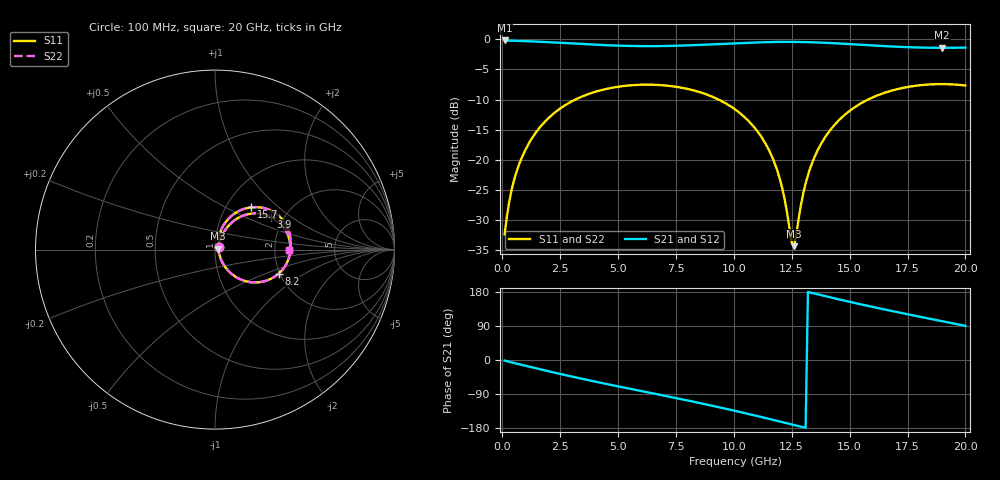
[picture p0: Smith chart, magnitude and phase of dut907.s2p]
! Touchstone file exported from HFSS 2026.1.0
!  File:  C:/ffzhzh/LocalFiles/Ansys_Project_Files/temp_train_TSV_RDL_907_1783277425_38820.aedt
!  Generated:  03:00:10 AM Jul  6, 2026
!  Design:  TSV_RDL
!  Project:  temp_train_TSV_RDL_907_1783277425_38820
! Variables:
!  h_bsmrdl = 2.44um
!  h_ox = 20um
!  h_rdl = 5um
!  h_sub = 57.81um
!  h_tmrdl = 3.61um
!  h_tsv = 57.81um
!  h_via = 3um
!  l_bsmrdl = 367.28um
!  l_sub = 4734.89um
!  l_tmrdl = 768.88um
!  m_sub = 200um
!  pitch = 44.53um
!  r_tsv = 12.02um
!  s_tmrdl = 10um
!  w_bsmrdl = 29.86um
!  w_sub = 500um
!  w_tmrdl = 22.65um
!  x_tsv_center1 = 780.205um
!  x_tsv_center2 = 1177.345um
!  x_tsv_center3 = 1968.875um
!  x_tsv_center4 = 2366.015um
!  x_tsv_center5 = 3157.545um
!  x_tsv_center6 = 3554.685um
# GHz S MA R 50.000000
! Terminal data exported
! Port[1] = TM_RDL1_1_T1
! Port[2] = TM_RDL5_1_T1
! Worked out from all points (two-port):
!   200 points, 100 MHz to 20 GHz, reference 50 ohm
!   highest |S21| = -0.17 dB at 100 MHz (marker M1); lowest = -1.4 dB at 19 GHz (marker M2)
!   |S21| within 3 dB of the highest: start of sweep to end of sweep
!   lowest |S11| = -34.4 dB at 12.6 GHz (marker M3), VSWR 1.04, Z = 51.9 + j0.569 ohm
!   |S11| at or under -10 dB: start of sweep to 3.159 GHz; 9.336 GHz to 15.8 GHz (6.461 GHz wide, 51.4 % of centre)
!   |S22| runs from -34.6 to -7.4 dB; largest |S21 - S12| = 1.9e-14
!   S11 on the Smith chart (normalised r, x): 100 MHz: 1.04, +0.03; 3.9 GHz: 1.71, +0.72; 8.2 GHz: 1.97, -0.62; 15.7 GHz: 1.30, +0.68; 20 GHz: 2.41, -0.03
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0.1  0.02391 33.1  0.9803 -1.6  0.9803 -1.6  0.02391 33.1
! Gamma 0 0 0 0
! Port Impedance 50 0 50 0
0.3  0.04475 55.9  0.9773 -4.8  0.9773 -4.8  0.04475 55.9
0.5  0.06673 61.4  0.9743 -7.8  0.9743 -7.8  0.06673 61.4
1.1  0.1315 62.0  0.9658 -16.7  0.9658 -16.7  0.1315 62.0
2.1  0.2313 52.3  0.9463 -31.2  0.9463 -31.2  0.2313 52.3
3.5  0.3383 35.3  0.9138 -50.4  0.9138 -50.4  0.3383 35.3
3.9  0.3608 30.4  0.9054 -55.6  0.9054 -55.6  0.3608 30.4
6.8  0.4173 -4.0  0.8804 -91.8  0.8804 -91.8  0.4173 -4.0
8.2  0.3793 -20.7  0.8947 -109.4  0.8947 -109.4  0.3793 -20.7
10.1  0.2578 -44.1  0.9298 -134.9  0.9298 -134.9  0.2578 -44.1
11  0.1738 -54.6  0.9448 -147.7  0.9448 -147.7  0.1738 -54.7
11.7  0.1002 -60.0  0.952 -158.1  0.952 -158.1  0.1001 -60.3
12.1  0.05677 -57.3  0.9538 -164.0  0.9538 -164.0  0.05666 -57.8
12.5  0.02035 -15.4  0.9536 -170.0  0.9536 -170.0  0.01989 -16.1
12.6  0.01906 16.7  0.9533 -171.5  0.9533 -171.5  0.01853 16.9
13  0.05264 69.4  0.9507 -177.5  0.9507 -177.5  0.05239 70.0
13.4  0.09593 73.3  0.9462 176.6  0.9462 176.6  0.09576 73.6
14.3  0.1898 66.1  0.9304 163.4  0.9304 163.4  0.1897 66.3
15.7  0.3094 49.5  0.8977 144.0  0.8977 144.0  0.3093 49.6
16.7  0.3696 37.4  0.8756 130.8  0.8756 130.8  0.3695 37.6
19  0.4251 10.8  0.8512 102.3  0.8512 102.3  0.425 10.9
20  0.4135 -0.7  0.8558 90.1  0.8558 90.1  0.4134 -0.6
